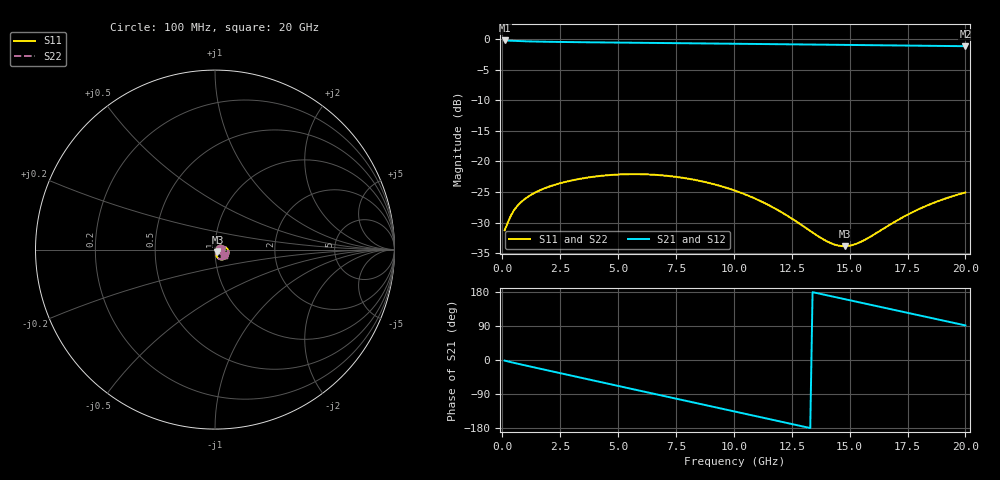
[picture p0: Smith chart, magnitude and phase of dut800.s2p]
! Touchstone file exported from HFSS 2026.1.0
!  File:  C:/ffzhzh/LocalFiles/Ansys_Project_Files/temp_train_TSV_RDL_800_1783262609_38820.aedt
!  Generated:  10:50:38 PM Jul  5, 2026
!  Design:  TSV_RDL
!  Project:  temp_train_TSV_RDL_800_1783262609_38820
! Variables:
!  h_bsmrdl = 4.82um
!  h_ox = 20um
!  h_rdl = 5um
!  h_sub = 65.62um
!  h_tmrdl = 2.09um
!  h_tsv = 65.62um
!  h_via = 3um
!  l_bsmrdl = 389.71um
!  l_sub = 4664.33um
!  l_tmrdl = 738.4um
!  m_sub = 200um
!  pitch = 28.53um
!  r_tsv = 4.82um
!  s_tmrdl = 10um
!  w_bsmrdl = 21.72um
!  w_sub = 500um
!  w_tmrdl = 25.48um
!  x_tsv_center1 = 751.14um
!  x_tsv_center2 = 1162.57um
!  x_tsv_center3 = 1926.45um
!  x_tsv_center4 = 2337.88um
!  x_tsv_center5 = 3101.76um
!  x_tsv_center6 = 3513.19um
# GHz S MA R 50.000000
! Terminal data exported
! Port[1] = TM_RDL1_1_T1
! Port[2] = TM_RDL5_1_T1
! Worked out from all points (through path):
!   200 points, 100 MHz to 20 GHz, reference 50 ohm
!   highest |S21| = -0.24 dB at 100 MHz (marker M1); lowest = -1.2 dB at 20 GHz (marker M2)
!   group delay of S21, straight-line fit = 37.2 ps
!   lowest |S11| = -33.8 dB at 14.8 GHz (marker M3), VSWR 1.04, Z = 51.4 - j1.53 ohm
!   |S11| at or under -10 dB: start of sweep to end of sweep
!   |S22| runs from -33.8 to -22.1 dB; largest |S21 - S12| = 2e-13
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0.1  0.02734 9.9  0.9732 -1.6  0.9732 -1.6  0.02734 9.9
! Gamma 0 0 0 0
! Port Impedance 50 0 50 0
0.5  0.03972 21.1  0.965 -7.5  0.965 -7.5  0.03973 21.1
1.1  0.0513 18.0  0.9565 -15.8  0.9565 -15.8  0.0513 18.0
2.3  0.06472 8.3  0.9471 -32.0  0.9471 -32.0  0.06472 8.3
3.5  0.07288 -2.5  0.941 -48.2  0.941 -48.2  0.07285 -2.5
4.4  0.07668 -11.1  0.9371 -60.3  0.9371 -60.3  0.07664 -11.1
5.2  0.07842 -19.0  0.9339 -71.1  0.9339 -71.1  0.07836 -18.9
6  0.0786 -27.0  0.9307 -81.8  0.9307 -81.8  0.07852 -26.9
6.8  0.07723 -35.1  0.9277 -92.6  0.9277 -92.6  0.07713 -35.0
7.6  0.07438 -43.0  0.9246 -103.3  0.9246 -103.3  0.07425 -42.9
8.4  0.07014 -50.8  0.9216 -114.1  0.9216 -114.1  0.07 -50.6
10.1  0.05728 -65.7  0.9149 -136.8  0.9149 -136.8  0.05713 -65.4
11  0.04891 -71.9  0.9112 -148.9  0.9112 -148.9  0.04878 -71.6
11.8  0.04103 -75.7  0.9079 -159.6  0.9079 -159.6  0.04092 -75.3
12.6  0.03322 -76.5  0.9046 -170.3  0.9046 -170.3  0.03316 -76.1
13.4  0.02624 -72.3  0.9012 179.0  0.9012 179.0  0.02625 -71.7
14.2  0.02143 -60.3  0.8977 168.4  0.8977 168.4  0.02151 -59.8
14.8  0.0203 -46.9  0.8951 160.4  0.8951 160.4  0.02042 -46.5
15.5  0.02208 -32.2  0.8921 151.0  0.8921 151.0  0.0222 -32.0
16.7  0.03009 -20.2  0.887 135.1  0.887 135.1  0.03013 -20.1
18.4  0.04406 -22.1  0.8799 112.5  0.8799 112.5  0.04395 -21.8
20  0.05576 -31.1  0.8735 91.3  0.8735 91.3  0.05551 -30.7
